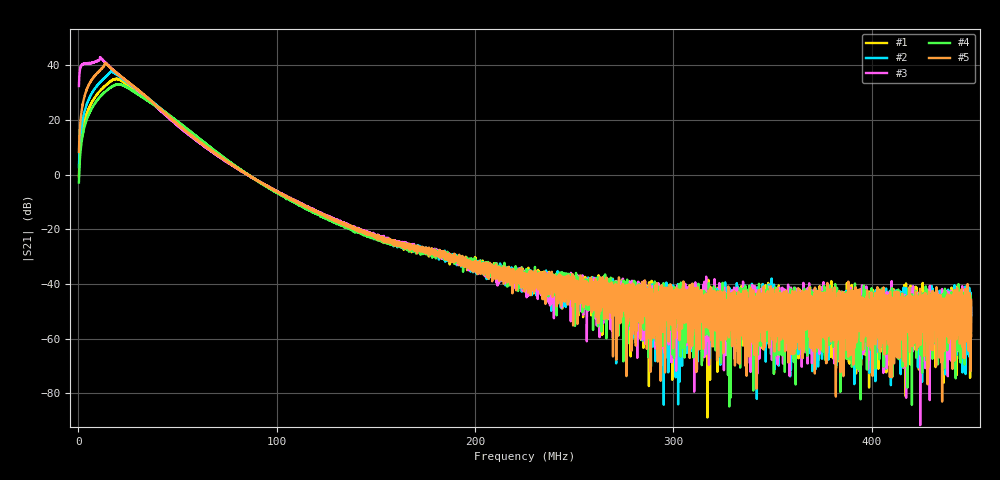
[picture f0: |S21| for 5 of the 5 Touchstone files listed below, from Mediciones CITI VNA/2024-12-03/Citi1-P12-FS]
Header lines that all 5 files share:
# Hz S DB R 50
! CMT, M5065, 19127446, 24.2.4/2
! Data: Format (Calibration Info)
! Freq	S11:dB/Ang(F2)	S21:dB/Ang(F2)	S12:dB/Ang(F2)	S22:dB/Ang(F2)
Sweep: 300 kHz to 450 MHz
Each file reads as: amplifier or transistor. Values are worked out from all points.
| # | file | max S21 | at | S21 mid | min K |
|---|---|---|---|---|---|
| 1 | gain15.s2p | 35.0 dB | 19.49 MHz | -37.6 dB at 225.2 MHz | 1.02 |
| 2 | gain31.s2p | 37.6 dB | 16.54 MHz | -39.0 dB at 225.2 MHz | 0.89 |
| 3 | gain63.s2p | 42.9 dB | 11.14 MHz | -35.9 dB at 225.2 MHz | 0.87 |
| 4 | ganancia_0.s2p | 33.0 dB | 20.34 MHz | -38.9 dB at 225.2 MHz | 1.14 |
| 5 | ganancia_47.s2p | 40.7 dB | 13.39 MHz | -41.5 dB at 225.2 MHz | 0.87 |
